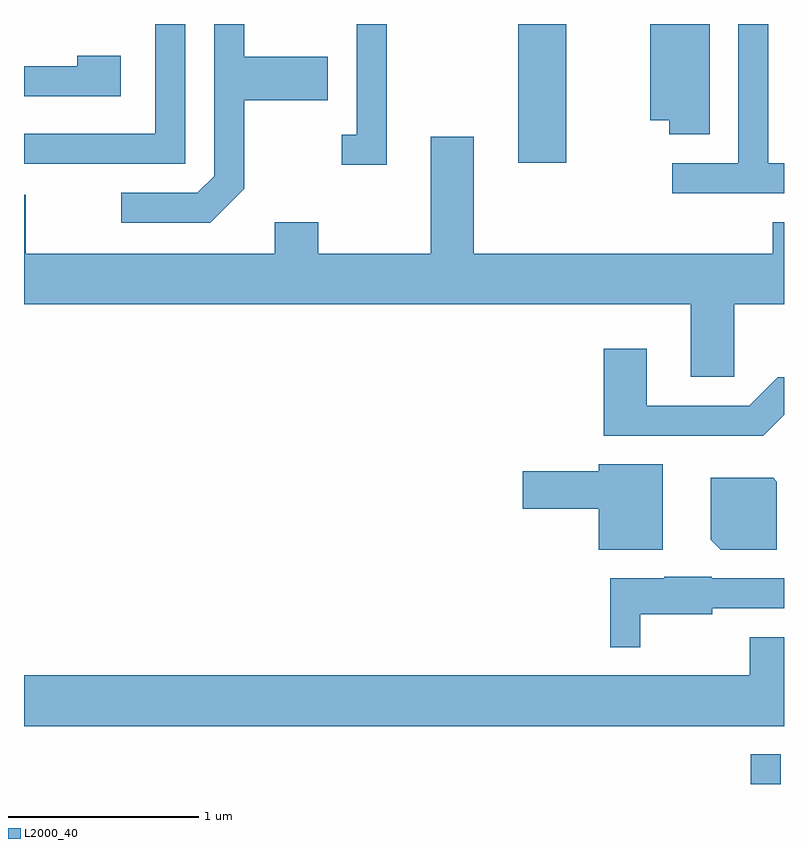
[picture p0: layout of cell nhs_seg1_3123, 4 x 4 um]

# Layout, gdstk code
import gdstk
lib = gdstk.Library(unit=1e-6, precision=1e-09)
def R(c, l, rs):  # rectangles x0, y0, x1, y1
    for r in rs: c.add(gdstk.rectangle(r[:2], r[2:], *l))
def P(c, l, *ps):  # polygons
    for p in ps: c.add(gdstk.Polygon(p, *l))
L2000_40 = (2000, 40)

nhs_seg1_3123 = lib.new_cell('nhs_seg1_3123')
R(nhs_seg1_3123, L2000_40, [(283.436,903.712,283.594,903.868), (282.211,906.981,282.464,907.712)])
P(nhs_seg1_3123, L2000_40, [(280.769,906.844),(280.769,907.311),(281.209,907.311),(281.209,907.539),(280.769,907.539),(280.769,907.712),(280.611,907.712),(280.611,906.912),(280.524,906.824),(280.123,906.824),(280.123,906.666),(280.592,906.666)],
  [(283.219,907.712),(282.906,907.712),(282.906,907.206),(283.006,907.206),(283.006,907.131),(283.219,907.131)],
  [(281.519,907.712),(281.361,907.712),(281.361,907.129),(281.283,907.129),(281.283,906.971),(281.519,906.971)],
  [(280.459,907.712),(280.301,907.712),(280.301,907.134),(279.611,907.134),(279.611,906.976),(280.459,906.976)],
  [(283.611,906.979),(283.529,906.979),(283.529,907.712),(283.371,907.712),(283.371,906.979),(283.023,906.979),(283.023,906.821),(283.611,906.821)],
  [(280.119,907.544),(279.891,907.544),(279.891,907.489),(279.611,907.489),(279.611,907.331),(280.119,907.331)],
  [(283.349,906.236),(283.611,906.236),(283.611,906.669),(283.551,906.669),(283.551,906.504),(281.979,906.504),(281.979,907.119),(281.751,907.119),(281.751,906.504),(281.159,906.504),(281.159,906.669),(280.931,906.669),(280.931,906.504),(279.619,906.504),(279.619,906.814),(279.611,906.814),(279.611,906.236),(283.121,906.236),(283.121,905.856),(283.349,905.856)],
  [(283.611,905.655),(283.611,905.854),(283.579,905.854),(283.429,905.704),(282.889,905.704),(282.889,906.004),(282.661,906.004),(282.661,905.546),(283.502,905.546)],
  [(282.974,905.394),(282.636,905.394),(282.636,905.359),(282.236,905.359),(282.236,905.161),(282.636,905.161),(282.636,904.946),(282.974,904.946)],
  [(283.574,905.304),(283.554,905.324),(283.226,905.324),(283.226,904.997),(283.277,904.946),(283.574,904.946)],
  [(282.854,904.606),(283.234,904.606),(283.234,904.636),(283.611,904.636),(283.611,904.794),(283.23,904.794),(283.23,904.804),(282.98,904.804),(282.98,904.794),(282.696,904.794),(282.696,904.433),(282.854,904.433)],
  [(283.611,904.484),(283.431,904.484),(283.431,904.284),(279.611,904.284),(279.611,904.016),(283.611,904.016)])

lib.write_gds('nhs_seg1_3123.gds')
